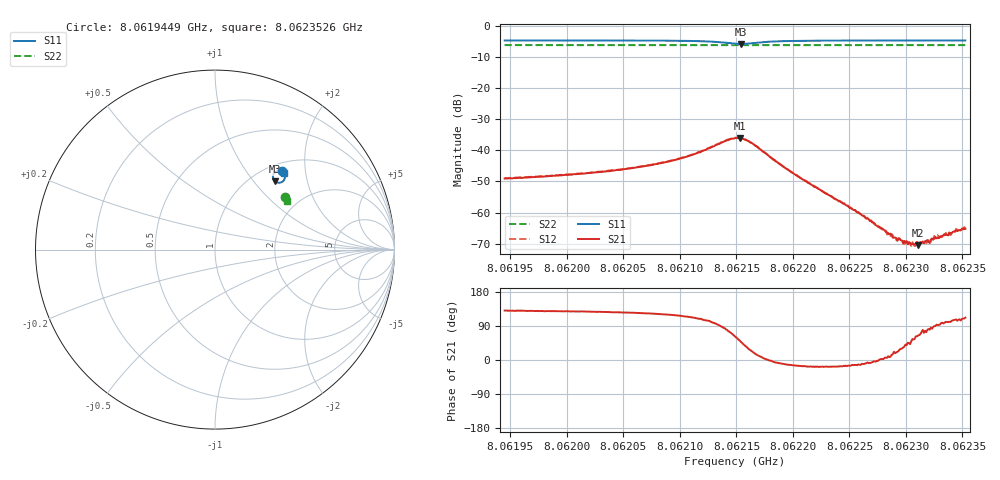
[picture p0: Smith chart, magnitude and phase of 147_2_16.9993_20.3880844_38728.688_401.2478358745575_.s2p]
#  HZ  S  RI  R  50.00
! Rohde & Schwarz Vector Network Analyzer
! Rohde-Schwarz,ZNB20-2Port,1311601062101988,3.16
! Created: UTC 3/20/2024, 10:58:41 PM
! freq[Hz]  re:S11  im:S11  re:S21  im:S21  re:S12  im:S12  re:S22  im:S22
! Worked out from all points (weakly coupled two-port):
!   401 points, 8.0619449 GHz to 8.0623526 GHz, reference 50 ohm
!   highest |S21| = -36.05 dB at 8.0621529 GHz (marker M1); lowest = -70.5 dB at 8.0623108 GHz (marker M2)
!   lowest |S11| = -5.9 dB at 8.0621539 GHz (marker M3), VSWR 3.05, Z = 63.1 + j64.7 ohm
!   |S11| at or under -10 dB: nowhere
!   |S22| runs from -6.4 to -6.3 dB; largest |S21 - S12| = 0.0012
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8.06194494e9  0.3728 0.4388  -0.00228 0.00266  -0.0021 0.00284  0.3874 0.2917
8.06201323e9  0.3786 0.4328  -0.0026 0.00329  -0.00242 0.00349  0.3897 0.2883
8.0620489e9  0.3823 0.4284  -0.00285 0.00399  -0.00263 0.00418  0.3909 0.2864
8.06208151e9  0.3864 0.4216  -0.00318 0.00523  -0.00291 0.00548  0.3919 0.2846
8.06210903e9  0.3897 0.41  -0.00324 0.00753  -0.00282 0.00781  0.3926 0.2827
8.06214878e9  0.3487 0.3731  0.00734 0.0138  0.00821 0.0135  0.3917 0.28
8.06215286e9  0.3363 0.3788  0.00976 0.0124  0.0107 0.0116  0.3913 0.2802
8.06215388e9  0.3336 0.3809  0.0103 0.0115  0.0111 0.011  0.3913 0.2803
8.06216611e9  0.3238 0.4151  0.0116 0.00368  0.0117 0.00314  0.3917 0.2813
8.06219057e9  0.3491 0.4389  0.00553 -0.000948  0.0055 -0.00129  0.3941 0.2808
8.06221707e9  0.3636 0.439  0.00261 -0.000831  0.00258 -0.000996  0.3955 0.2795
8.06225682e9  0.3737 0.4355  0.000979 -0.000236  0.000976 -0.00028  0.3971 0.2772
8.06228535e9  0.3778 0.4331  0.000443 5.9e-05  0.000472 2.58e-05  0.3982 0.2758
8.06229045e9  0.3785 0.4328  0.000379 0.000122  0.000374 9.71e-05  0.3983 0.2755
8.06229555e9  0.3792 0.4324  0.000312 0.000176  0.000323 0.000154  0.3985 0.2752
8.06230064e9  0.3797 0.432  0.000269 0.000221  0.000273 0.000187  0.3986 0.275
8.06231083e9  0.3808 0.4312  0.000127 0.000269  0.000163 0.000285  0.3991 0.2745
8.06232001e9  0.3816 0.4305  4.86e-05 0.000331  9.97e-05 0.000366  0.3994 0.2738
8.06232714e9  0.3823 0.4301  -2.15e-05 0.000385  1.98e-05 0.00039  0.3996 0.2736
8.06233835e9  0.3833 0.4294  -8.59e-05 0.000451  -0.000108 0.000468  0.3999 0.273
8.06234345e9  0.3838 0.429  -0.000138 0.000473  -0.000116 0.000486  0.4001 0.2729
8.06235262e9  0.3847 0.4283  -0.000202 0.000508  -0.000154 0.000542  0.4005 0.2723
